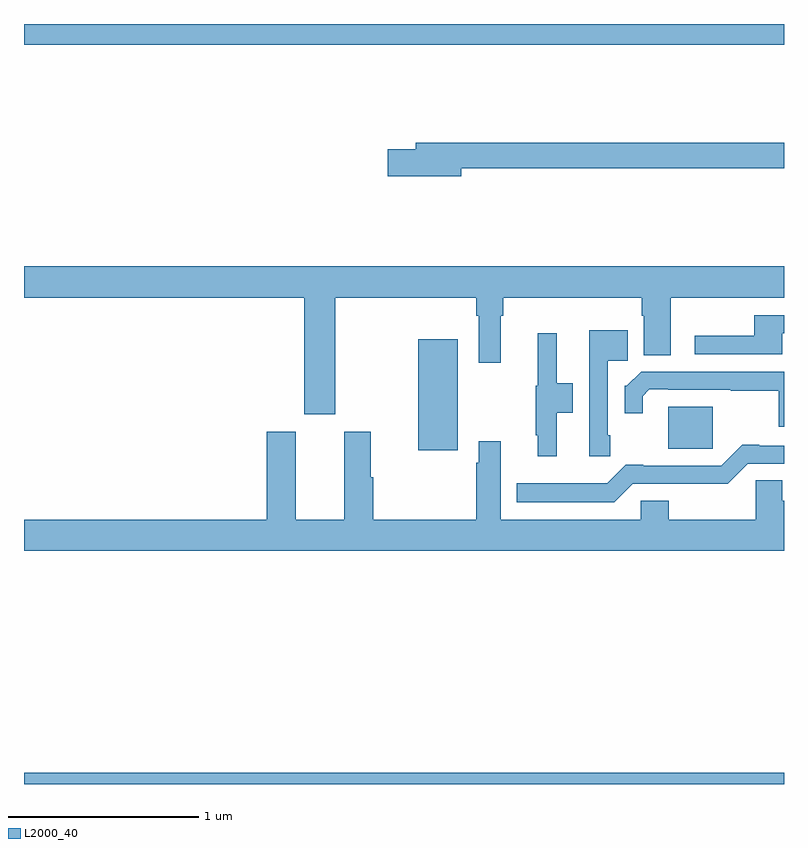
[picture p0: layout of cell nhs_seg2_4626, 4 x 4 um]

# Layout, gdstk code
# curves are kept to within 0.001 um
import gdstk
lib = gdstk.Library(unit=1e-6, precision=1e-09)
def R(c, l, rs):  # rectangles x0, y0, x1, y1
    for r in rs: c.add(gdstk.rectangle(r[:2], r[2:], *l))
def P(c, l, *ps):  # polygons
    for p in ps: c.add(gdstk.Polygon(p, *l))
L2000_40 = (2000, 40)

nhs_seg2_4626 = lib.new_cell('nhs_seg2_4626')
R(nhs_seg2_4626, L2000_40, [(363,587.8,367,587.86), (365.075,589.556,365.284,590.14), (366.392,589.565,366.625,589.786), (363,591.692,367,591.8)])
P(nhs_seg2_4626, L2000_40, [(365.302,591.04),(367,591.04),(367,591.176),(365.063,591.176),(365.063,591.14),(364.914,591.14),(364.914,590.998),(365.302,590.998)],
  [(363,590.36),(364.475,590.36),(364.475,589.746),(364.639,589.746),(364.639,590.36),(365.381,590.36),(365.381,590.264),(365.393,590.264),(365.393,590.016),(365.509,590.016),(365.509,590.264),(365.522,590.264),(365.522,590.36),(366.251,590.36),(366.251,590.264),(366.263,590.264),(366.263,590.056),(366.403,590.056),(366.403,590.36),(367,590.36),(367,590.524),(363,590.524)],
  [(366.991,590.172),(367,590.172),(367,590.268),(366.844,590.268),(366.844,590.159),(366.531,590.159),(366.531,590.061),(366.991,590.061)],
  [(366.085,589.636),(366.072,589.636),(366.072,590.028),(366.178,590.028),(366.178,590.188),(365.976,590.188),(365.976,589.524),(366.085,589.524)],
  [(365.803,589.753),(365.887,589.753),(365.887,589.908),(365.803,589.908),(365.803,590.173),(365.705,590.173),(365.705,589.896),(365.694,589.896),(365.694,589.636),(365.705,589.636),(365.705,589.524),(365.803,589.524)],
  [(367,589.971),(366.248,589.971),(366.173,589.896),(366.162,589.896),(366.162,589.752),(366.257,589.752),(366.257,589.842),(366.292,589.878),(366.391,589.878),(366.391,589.875),(366.721,589.875),(366.721,589.87),(366.972,589.87),(366.972,589.68),(367,589.68)],
  [(367,589.29),(366.991,589.29),(366.991,589.4),(366.852,589.4),(366.852,589.192),(366.393,589.192),(366.393,589.29),(366.246,589.29),(366.246,589.192),(365.509,589.192),(365.509,589.603),(365.393,589.603),(365.393,589.49),(365.381,589.49),(365.381,589.192),(364.838,589.192),(364.838,589.415),(364.825,589.415),(364.825,589.654),(364.685,589.654),(364.685,589.192),(364.429,589.192),(364.429,589.654),(364.277,589.654),(364.277,589.192),(363,589.192),(363,589.028),(367,589.028)],
  [(366.204,589.38),(366.704,589.379),(366.81,589.485),(367,589.485),(367,589.581),(366.871,589.581),(366.871,589.586),(366.779,589.586),(366.669,589.476),(366.259,589.476),(366.259,589.481),(366.167,589.481),(366.069,589.383),(365.594,589.384),(365.594,589.283),(366.107,589.283)])

lib.write_gds('nhs_seg2_4626.gds')
